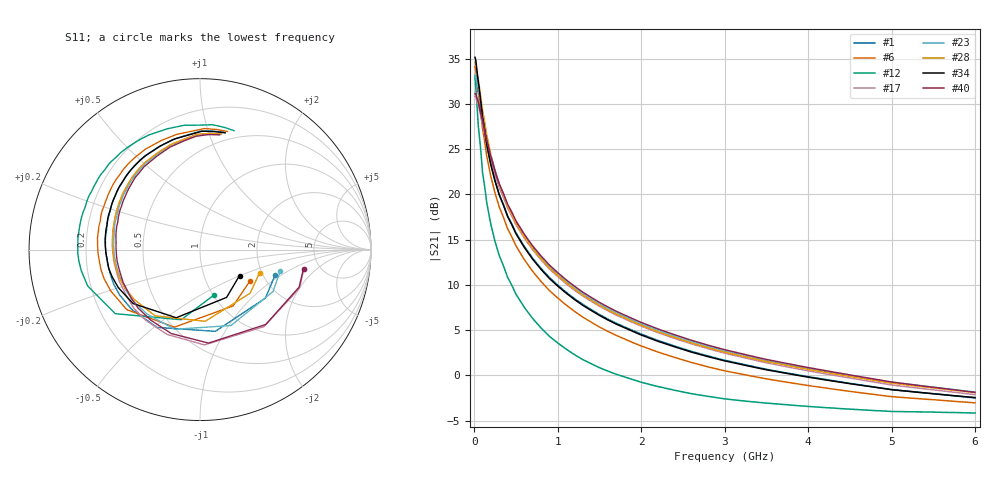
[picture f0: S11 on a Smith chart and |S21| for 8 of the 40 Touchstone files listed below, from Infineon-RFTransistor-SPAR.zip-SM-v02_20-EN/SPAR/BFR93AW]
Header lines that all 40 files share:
! Infineon Technologies  Discrete & RF Semiconductors
! BFR93AW
! Common Emitter S-Parameters:  Jan 2017
# GHz  S  MA  R  50
!  f  S11  S21  S12  S22
! GHz  MAG  ANG  MAG  ANG  MAG  ANG  MAG  ANG
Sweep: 10 MHz to 6 GHz
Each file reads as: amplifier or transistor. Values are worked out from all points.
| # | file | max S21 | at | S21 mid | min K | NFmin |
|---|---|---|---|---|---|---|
| 1 | BFR93AW_w_noise_VCE_1.0V_IC_25mA.s2p | 33.1 dB | 10 MHz | 3.9 dB at 2.2 GHz | 0.16 | 1.66 dB |
| 2 | BFR93AW_w_noise_VCE_1.0V_IC_30mA.s2p | 33.7 dB | 10 MHz | 3.6 dB at 2.2 GHz | 0.20 | 1.79 dB |
| 3 | BFR93AW_w_noise_VCE_1.0V_IC_32mA.s2p | 33.9 dB | 10 MHz | 3.4 dB at 2.2 GHz | 0.19 | 1.86 dB |
| 4 | BFR93AW_w_noise_VCE_1.0V_IC_33mA.s2p | 34.0 dB | 10 MHz | 3.3 dB at 2.2 GHz | 0.22 | 1.88 dB |
| 5 | BFR93AW_w_noise_VCE_1.0V_IC_36mA.s2p | 34.1 dB | 10 MHz | 2.9 dB at 2.2 GHz | 0.25 | 1.95 dB |
| 6 | BFR93AW_w_noise_VCE_1.0V_IC_38mA.s2p | 34.1 dB | 10 MHz | 2.6 dB at 2.2 GHz | 0.29 | 1.99 dB |
| 7 | BFR93AW_w_noise_VCE_1.0V_IC_40mA.s2p | 34.1 dB | 10 MHz | 2.2 dB at 2.2 GHz | 0.31 | 2.04 dB |
| 8 | BFR93AW_w_noise_VCE_1.0V_IC_45mA.s2p | 33.9 dB | 10 MHz | 0.9 dB at 2.2 GHz | 0.41 | 2.16 dB |
| 9 | BFR93AW_w_noise_VCE_1.0V_IC_47mA.s2p | 33.7 dB | 10 MHz | 0.4 dB at 2.2 GHz | 0.44 | 2.21 dB |
| 10 | BFR93AW_w_noise_VCE_1.0V_IC_50mA.s2p | 33.5 dB | 10 MHz | -0.3 dB at 2.2 GHz | 0.51 | 2.30 dB |
| 11 | BFR93AW_w_noise_VCE_1.0V_IC_52mA.s2p | 33.3 dB | 10 MHz | -0.7 dB at 2.2 GHz | 0.54 | 2.34 dB |
| 12 | BFR93AW_w_noise_VCE_1.0V_IC_55mA.s2p | 33.0 dB | 10 MHz | -1.2 dB at 2.2 GHz | 0.61 | 2.42 dB |
| 13 | BFR93AW_w_noise_VCE_2.0V_IC_2.0mA.s2p | 17.0 dB | 20 MHz | 0.4 dB at 2.2 GHz | -0.09 | 1.49 dB |
| 14 | BFR93AW_w_noise_VCE_2.0V_IC_5.0mA.s2p | 24.0 dB | 20 MHz | 3.1 dB at 2.2 GHz | -0.05 | 1.18 dB |
| 15 | BFR93AW_w_noise_VCE_2.0V_IC_10mA.s2p | 28.6 dB | 20 MHz | 4.3 dB at 2.2 GHz | -0.02 | 1.25 dB |
| 16 | BFR93AW_w_noise_VCE_2.0V_IC_11mA.s2p | 29.1 dB | 10 MHz | 4.4 dB at 2.2 GHz | 0.05 | 1.26 dB |
| 17 | BFR93AW_w_noise_VCE_2.0V_IC_15mA.s2p | 30.9 dB | 10 MHz | 4.7 dB at 2.2 GHz | 0.07 | 1.37 dB |
| 18 | BFR93AW_w_noise_VCE_2.0V_IC_16mA.s2p | 31.2 dB | 20 MHz | 4.8 dB at 2.2 GHz | 0.04 | 1.41 dB |
| 19 | BFR93AW_w_noise_VCE_2.0V_IC_18mA.s2p | 31.8 dB | 10 MHz | 4.8 dB at 2.2 GHz | 0.07 | 1.47 dB |
| 20 | BFR93AW_w_noise_VCE_2.0V_IC_20mA.s2p | 32.3 dB | 10 MHz | 4.9 dB at 2.2 GHz | 0.06 | 1.52 dB |
| 21 | BFR93AW_w_noise_VCE_2.0V_IC_23mA.s2p | 32.9 dB | 10 MHz | 4.9 dB at 2.2 GHz | 0.10 | 1.60 dB |
| 22 | BFR93AW_w_noise_VCE_2.0V_IC_24mA.s2p | 33.0 dB | 10 MHz | 5.0 dB at 2.2 GHz | 0.09 | 1.63 dB |
| 23 | BFR93AW_w_noise_VCE_2.0V_IC_25mA.s2p | 33.2 dB | 10 MHz | 5.0 dB at 2.2 GHz | 0.12 | 1.66 dB |
| 24 | BFR93AW_w_noise_VCE_2.0V_IC_30mA.s2p | 33.9 dB | 10 MHz | 5.0 dB at 2.2 GHz | 0.15 | 1.79 dB |
| 25 | BFR93AW_w_noise_VCE_2.0V_IC_32mA.s2p | 34.1 dB | 10 MHz | 4.9 dB at 2.2 GHz | 0.15 | 1.86 dB |
| 26 | BFR93AW_w_noise_VCE_2.0V_IC_33mA.s2p | 34.2 dB | 10 MHz | 4.9 dB at 2.2 GHz | 0.18 | 1.88 dB |
| 27 | BFR93AW_w_noise_VCE_2.0V_IC_36mA.s2p | 34.4 dB | 10 MHz | 4.9 dB at 2.2 GHz | 0.19 | 1.95 dB |
| 28 | BFR93AW_w_noise_VCE_2.0V_IC_38mA.s2p | 34.6 dB | 10 MHz | 4.8 dB at 2.2 GHz | 0.15 | 1.99 dB |
| 29 | BFR93AW_w_noise_VCE_2.0V_IC_40mA.s2p | 34.7 dB | 10 MHz | 4.8 dB at 2.2 GHz | 0.22 | 2.04 dB |
| 30 | BFR93AW_w_noise_VCE_2.0V_IC_45mA.s2p | 35.0 dB | 10 MHz | 4.6 dB at 2.2 GHz | 0.23 | 2.16 dB |
| 31 | BFR93AW_w_noise_VCE_2.0V_IC_47mA.s2p | 35.1 dB | 10 MHz | 4.4 dB at 2.2 GHz | 0.25 | 2.21 dB |
| 32 | BFR93AW_w_noise_VCE_2.0V_IC_50mA.s2p | 35.1 dB | 10 MHz | 4.2 dB at 2.2 GHz | 0.25 | 2.30 dB |
| 33 | BFR93AW_w_noise_VCE_2.0V_IC_52mA.s2p | 35.2 dB | 10 MHz | 4.1 dB at 2.2 GHz | 0.29 | 2.34 dB |
| 34 | BFR93AW_w_noise_VCE_2.0V_IC_55mA.s2p | 35.2 dB | 10 MHz | 3.8 dB at 2.2 GHz | 0.31 | 2.42 dB |
| 35 | BFR93AW_w_noise_VCE_3.0V_IC_2.0mA.s2p | 17.0 dB | 20 MHz | 0.6 dB at 2.2 GHz | -0.11 | 1.49 dB |
| 36 | BFR93AW_w_noise_VCE_3.0V_IC_5.0mA.s2p | 23.9 dB | 20 MHz | 3.4 dB at 2.2 GHz | 0.01 | 1.18 dB |
| 37 | BFR93AW_w_noise_VCE_3.0V_IC_10mA.s2p | 28.6 dB | 20 MHz | 4.6 dB at 2.2 GHz | 0.02 | 1.25 dB |
| 38 | BFR93AW_w_noise_VCE_3.0V_IC_11mA.s2p | 29.1 dB | 20 MHz | 4.8 dB at 2.2 GHz | 0.04 | 1.26 dB |
| 39 | BFR93AW_w_noise_VCE_3.0V_IC_15mA.s2p | 30.8 dB | 20 MHz | 5.1 dB at 2.2 GHz | 0.06 | 1.37 dB |
| 40 | BFR93AW_w_noise_VCE_3.0V_IC_16mA.s2p | 31.1 dB | 10 MHz | 5.1 dB at 2.2 GHz | 0.04 | 1.41 dB |

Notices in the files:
Hoja de datos/BFP 450/Infineon-RFTransistor-SPAR.zip-SM-v02_20-EN/SPAR/BFR93AW/BFR93AW_w_noise_VCE_1.0V_IC_25mA.s2p:
(c) 2017  Infineon Technologies AG, Munich
